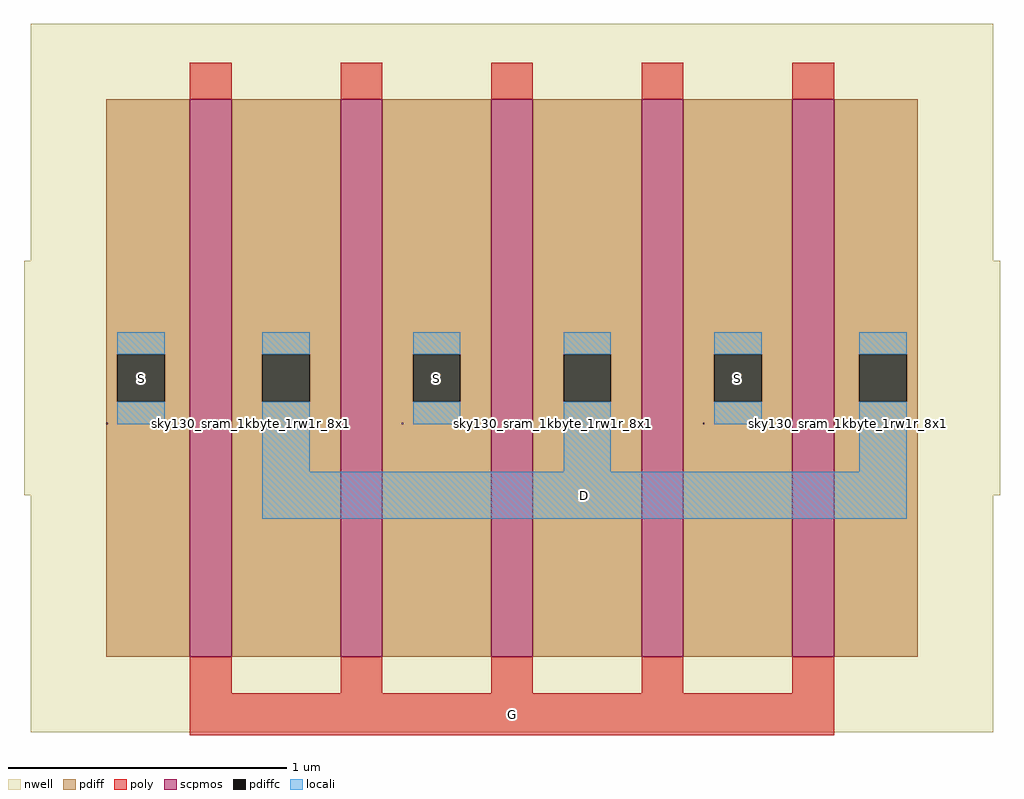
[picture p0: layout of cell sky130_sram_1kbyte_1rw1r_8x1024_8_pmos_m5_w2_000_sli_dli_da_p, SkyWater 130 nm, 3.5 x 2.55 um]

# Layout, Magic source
magic
tech sky130A
magscale 1 2
<< nwell >>
rect -54 284 636 454
rect -59 116 641 284
rect -54 -54 636 116
<< scpmos >>
rect 60 0 90 400
rect 168 0 198 400
rect 276 0 306 400
rect 384 0 414 400
rect 492 0 522 400
<< pdiff >>
rect 0 217 60 400
rect 0 183 8 217
rect 42 183 60 217
rect 0 0 60 183
rect 90 217 168 400
rect 90 183 112 217
rect 146 183 168 217
rect 90 0 168 183
rect 198 217 276 400
rect 198 183 220 217
rect 254 183 276 217
rect 198 0 276 183
rect 306 217 384 400
rect 306 183 328 217
rect 362 183 384 217
rect 306 0 384 183
rect 414 217 492 400
rect 414 183 436 217
rect 470 183 492 217
rect 414 0 492 183
rect 522 217 582 400
rect 522 183 540 217
rect 574 183 582 217
rect 522 0 582 183
<< pdiffc >>
rect 8 183 42 217
rect 112 183 146 217
rect 220 183 254 217
rect 328 183 362 217
rect 436 183 470 217
rect 540 183 574 217
<< poly >>
rect 60 400 90 426
rect 168 400 198 426
rect 276 400 306 426
rect 384 400 414 426
rect 492 400 522 426
rect 60 -26 90 0
rect 168 -26 198 0
rect 276 -26 306 0
rect 384 -26 414 0
rect 492 -26 522 0
rect 60 -56 522 -26
<< locali >>
rect 8 217 42 233
rect 8 167 42 183
rect 112 217 146 233
rect 112 133 146 183
rect 220 217 254 233
rect 220 167 254 183
rect 328 217 362 233
rect 328 133 362 183
rect 436 217 470 233
rect 436 167 470 183
rect 540 217 574 233
rect 540 133 574 183
rect 112 99 574 133
use sky130_sram_1kbyte_1rw1r_8x1024_8_contact_12  sky130_sram_1kbyte_1rw1r_8x1024_8_contact_12_0
transform 1 0 532 0 1 167
box 0 0 1 1
use sky130_sram_1kbyte_1rw1r_8x1024_8_contact_12  sky130_sram_1kbyte_1rw1r_8x1024_8_contact_12_1
transform 1 0 428 0 1 167
box 0 0 1 1
use sky130_sram_1kbyte_1rw1r_8x1024_8_contact_12  sky130_sram_1kbyte_1rw1r_8x1024_8_contact_12_2
transform 1 0 320 0 1 167
box 0 0 1 1
use sky130_sram_1kbyte_1rw1r_8x1024_8_contact_12  sky130_sram_1kbyte_1rw1r_8x1024_8_contact_12_3
transform 1 0 212 0 1 167
box 0 0 1 1
use sky130_sram_1kbyte_1rw1r_8x1024_8_contact_12  sky130_sram_1kbyte_1rw1r_8x1024_8_contact_12_4
transform 1 0 104 0 1 167
box 0 0 1 1
use sky130_sram_1kbyte_1rw1r_8x1024_8_contact_12  sky130_sram_1kbyte_1rw1r_8x1024_8_contact_12_5
transform 1 0 0 0 1 167
box 0 0 1 1
<< labels >>
rlabel locali s 25 200 25 200 4 S
port 1 nsew
rlabel locali s 237 200 237 200 4 S
port 1 nsew
rlabel locali s 453 200 453 200 4 S
port 1 nsew
rlabel locali s 343 116 343 116 4 D
port 2 nsew
rlabel poly s 291 -41 291 -41 4 G
port 3 nsew
<< properties >>
string FIXED_BBOX -54 -56 636 116
string GDS_FILE $PDKPATH/libs.ref/sky130_sram_macros/gds/sky130_sram_1kbyte_1rw1r_8x1024_8.gds
string GDS_END 29896
string GDS_START 28076
<< end >>
